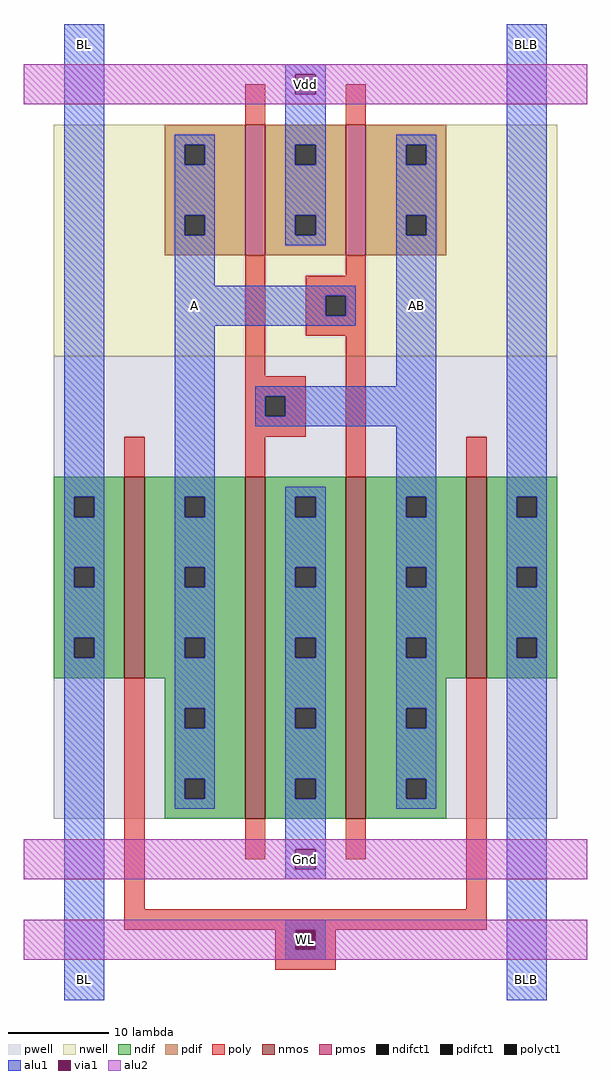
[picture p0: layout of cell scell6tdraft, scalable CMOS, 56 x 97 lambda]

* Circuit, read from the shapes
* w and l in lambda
.subckt scell6tdraft A AB BL BLB Gnd Vdd WL
M1 A WL BL VSUBS nfet w=20 l=2
M2 Gnd AB A VSUBS nfet w=34 l=2
M3 AB A Gnd VSUBS nfet w=34 l=2
M4 BLB WL AB VSUBS nfet w=20 l=2
M5 Vdd AB A n1 pfet w=13 l=2
M6 AB A Vdd n1 pfet w=13 l=2
.ends

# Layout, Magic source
magic
tech scmos
<< nwell >>
rect -35 10 15 33
<< pwell >>
rect -35 -36 15 10
<< poly >>
rect -16 33 -14 37
rect -6 33 -4 37
rect -16 8 -14 20
rect -6 18 -4 20
rect -10 16 -4 18
rect -10 14 -8 16
rect -6 14 -4 16
rect -10 12 -4 14
rect -16 6 -10 8
rect -16 4 -14 6
rect -12 4 -10 6
rect -16 2 -10 4
rect -28 -2 -26 2
rect -16 -2 -14 2
rect -6 -2 -4 12
rect 6 -2 8 2
rect -28 -45 -26 -22
rect -16 -40 -14 -36
rect -6 -40 -4 -36
rect 6 -45 8 -22
rect -28 -47 8 -45
rect -13 -49 -11 -47
rect -9 -49 -7 -47
rect -13 -51 -7 -49
<< ndif >>
rect -35 -4 -28 -2
rect -35 -6 -33 -4
rect -31 -6 -28 -4
rect -35 -11 -28 -6
rect -35 -13 -33 -11
rect -31 -13 -28 -11
rect -35 -18 -28 -13
rect -35 -20 -33 -18
rect -31 -20 -28 -18
rect -35 -22 -28 -20
rect -26 -4 -16 -2
rect -26 -6 -22 -4
rect -20 -6 -16 -4
rect -26 -11 -16 -6
rect -26 -13 -22 -11
rect -20 -13 -16 -11
rect -26 -18 -16 -13
rect -26 -20 -22 -18
rect -20 -20 -16 -18
rect -26 -22 -16 -20
rect -24 -25 -16 -22
rect -24 -27 -22 -25
rect -20 -27 -16 -25
rect -24 -32 -16 -27
rect -24 -34 -22 -32
rect -20 -34 -16 -32
rect -24 -36 -16 -34
rect -14 -4 -6 -2
rect -14 -6 -11 -4
rect -9 -6 -6 -4
rect -14 -11 -6 -6
rect -14 -13 -11 -11
rect -9 -13 -6 -11
rect -14 -18 -6 -13
rect -14 -20 -11 -18
rect -9 -20 -6 -18
rect -14 -25 -6 -20
rect -14 -27 -11 -25
rect -9 -27 -6 -25
rect -14 -32 -6 -27
rect -14 -34 -11 -32
rect -9 -34 -6 -32
rect -14 -36 -6 -34
rect -4 -4 6 -2
rect -4 -6 0 -4
rect 2 -6 6 -4
rect -4 -11 6 -6
rect -4 -13 0 -11
rect 2 -13 6 -11
rect -4 -18 6 -13
rect -4 -20 0 -18
rect 2 -20 6 -18
rect -4 -22 6 -20
rect 8 -4 15 -2
rect 8 -6 11 -4
rect 13 -6 15 -4
rect 8 -11 15 -6
rect 8 -13 11 -11
rect 13 -13 15 -11
rect 8 -18 15 -13
rect 8 -20 11 -18
rect 13 -20 15 -18
rect 8 -22 15 -20
rect -4 -25 4 -22
rect -4 -27 0 -25
rect 2 -27 4 -25
rect -4 -32 4 -27
rect -4 -34 0 -32
rect 2 -34 4 -32
rect -4 -36 4 -34
<< pdif >>
rect -24 31 -16 33
rect -24 29 -22 31
rect -20 29 -16 31
rect -24 24 -16 29
rect -24 22 -22 24
rect -20 22 -16 24
rect -24 20 -16 22
rect -14 31 -6 33
rect -14 29 -11 31
rect -9 29 -6 31
rect -14 24 -6 29
rect -14 22 -11 24
rect -9 22 -6 24
rect -14 20 -6 22
rect -4 31 4 33
rect -4 29 0 31
rect 2 29 4 31
rect -4 24 4 29
rect -4 22 0 24
rect 2 22 4 24
rect -4 20 4 22
<< alu1 >>
rect -34 -4 -30 43
rect -12 38 -8 39
rect -12 36 -11 38
rect -9 36 -8 38
rect -34 -6 -33 -4
rect -31 -6 -30 -4
rect -34 -11 -30 -6
rect -34 -13 -33 -11
rect -31 -13 -30 -11
rect -34 -18 -30 -13
rect -34 -20 -33 -18
rect -31 -20 -30 -18
rect -34 -54 -30 -20
rect -23 31 -19 32
rect -23 29 -22 31
rect -20 29 -19 31
rect -23 24 -19 29
rect -23 22 -22 24
rect -20 22 -19 24
rect -23 17 -19 22
rect -12 31 -8 36
rect -12 29 -11 31
rect -9 29 -8 31
rect -12 24 -8 29
rect -12 22 -11 24
rect -9 22 -8 24
rect -12 21 -8 22
rect -1 31 3 32
rect -1 29 0 31
rect 2 29 3 31
rect -1 24 3 29
rect -1 22 0 24
rect 2 22 3 24
rect -23 16 -5 17
rect -23 14 -8 16
rect -6 14 -5 16
rect -23 13 -5 14
rect -23 -4 -19 13
rect -1 7 3 22
rect -15 6 3 7
rect -15 4 -14 6
rect -12 4 3 6
rect -15 3 3 4
rect -23 -6 -22 -4
rect -20 -6 -19 -4
rect -23 -11 -19 -6
rect -23 -13 -22 -11
rect -20 -13 -19 -11
rect -23 -18 -19 -13
rect -23 -20 -22 -18
rect -20 -20 -19 -18
rect -23 -25 -19 -20
rect -23 -27 -22 -25
rect -20 -27 -19 -25
rect -23 -32 -19 -27
rect -23 -34 -22 -32
rect -20 -34 -19 -32
rect -23 -35 -19 -34
rect -12 -4 -8 -3
rect -12 -6 -11 -4
rect -9 -6 -8 -4
rect -12 -11 -8 -6
rect -12 -13 -11 -11
rect -9 -13 -8 -11
rect -12 -18 -8 -13
rect -12 -20 -11 -18
rect -9 -20 -8 -18
rect -12 -25 -8 -20
rect -12 -27 -11 -25
rect -9 -27 -8 -25
rect -12 -32 -8 -27
rect -12 -34 -11 -32
rect -9 -34 -8 -32
rect -12 -39 -8 -34
rect -1 -4 3 3
rect -1 -6 0 -4
rect 2 -6 3 -4
rect -1 -11 3 -6
rect -1 -13 0 -11
rect 2 -13 3 -11
rect -1 -18 3 -13
rect -1 -20 0 -18
rect 2 -20 3 -18
rect -1 -25 3 -20
rect -1 -27 0 -25
rect 2 -27 3 -25
rect -1 -32 3 -27
rect -1 -34 0 -32
rect 2 -34 3 -32
rect -1 -35 3 -34
rect 10 -4 14 43
rect 10 -6 11 -4
rect 13 -6 14 -4
rect 10 -11 14 -6
rect 10 -13 11 -11
rect 13 -13 14 -11
rect 10 -18 14 -13
rect 10 -20 11 -18
rect 13 -20 14 -18
rect -12 -41 -11 -39
rect -9 -41 -8 -39
rect -12 -42 -8 -41
rect -12 -47 -8 -46
rect -12 -49 -11 -47
rect -9 -49 -8 -47
rect -12 -50 -8 -49
rect 10 -54 14 -20
<< alu2 >>
rect -38 38 18 39
rect -38 36 -11 38
rect -9 36 18 38
rect -38 35 18 36
rect -38 -39 18 -38
rect -38 -41 -11 -39
rect -9 -41 18 -39
rect -38 -42 18 -41
rect -38 -47 18 -46
rect -38 -49 -11 -47
rect -9 -49 18 -47
rect -38 -50 18 -49
<< nmos >>
rect -28 -22 -26 -2
rect -16 -36 -14 -2
rect -6 -36 -4 -2
rect 6 -22 8 -2
<< pmos >>
rect -16 20 -14 33
rect -6 20 -4 33
<< polyct1 >>
rect -8 14 -6 16
rect -14 4 -12 6
rect -11 -49 -9 -47
<< ndifct1 >>
rect -33 -6 -31 -4
rect -33 -13 -31 -11
rect -33 -20 -31 -18
rect -22 -6 -20 -4
rect -22 -13 -20 -11
rect -22 -20 -20 -18
rect -22 -27 -20 -25
rect -22 -34 -20 -32
rect -11 -6 -9 -4
rect -11 -13 -9 -11
rect -11 -20 -9 -18
rect -11 -27 -9 -25
rect -11 -34 -9 -32
rect 0 -6 2 -4
rect 0 -13 2 -11
rect 0 -20 2 -18
rect 11 -6 13 -4
rect 11 -13 13 -11
rect 11 -20 13 -18
rect 0 -27 2 -25
rect 0 -34 2 -32
<< pdifct1 >>
rect -22 29 -20 31
rect -22 22 -20 24
rect -11 29 -9 31
rect -11 22 -9 24
rect 0 29 2 31
rect 0 22 2 24
<< via1 >>
rect -11 36 -9 38
rect -11 -41 -9 -39
rect -11 -49 -9 -47
<< labels >>
rlabel alu1 -32 41 -32 41 5 BL
rlabel alu1 12 41 12 41 5 BLB
rlabel via1 -10 37 -10 37 1 Vdd
rlabel via1 -10 -40 -10 -40 1 Gnd
rlabel via1 -10 -48 -10 -48 1 WL
rlabel alu1 -32 -52 -32 -52 1 BL
rlabel alu1 12 -52 12 -52 1 BLB
rlabel alu1 -21 15 -21 15 1 A
rlabel alu1 1 15 1 15 1 AB
<< end >>
